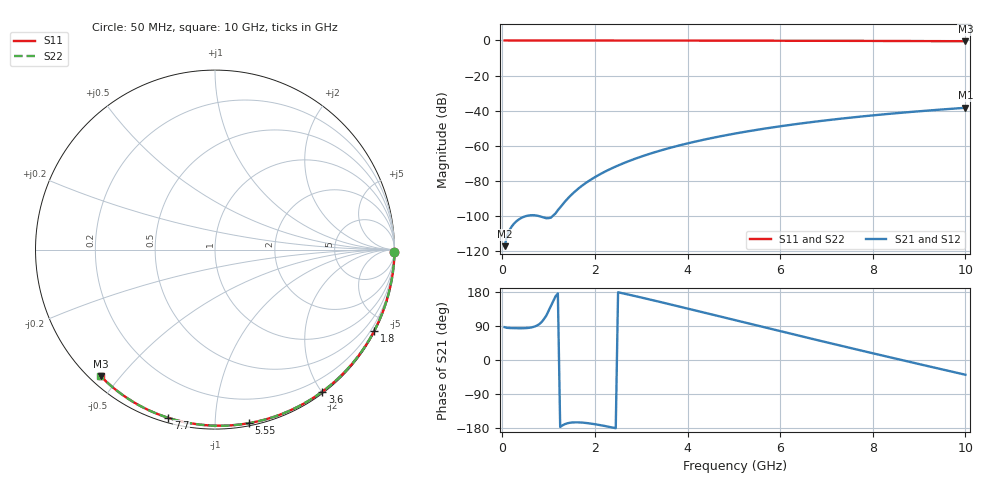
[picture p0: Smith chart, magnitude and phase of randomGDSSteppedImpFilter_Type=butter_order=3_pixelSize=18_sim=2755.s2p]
! freq	dB(S11)	phase(S11)	dB(S12)	phase(S12)
!  dB(S21)	phase(S21)	dB(S22)	phase(S22)
!S-par simulation data
#  GHz  S  DB  R 50
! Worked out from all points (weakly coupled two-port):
!   200 points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, 50 MHz to 10 GHz, reference 50 ohm
!   highest |S21| = -38.41 dB at 10 GHz (marker M1); lowest = -117.3 dB at 50 MHz (marker M2)
!   lowest |S11| = -0.4 dB at 10 GHz (marker M3), VSWR 38.96, Z = 1.54 - j22.2 ohm
!   |S11| at or under -10 dB: nowhere
!   |S22| runs from -0.4 to 0.0 dB; largest |S21 - S12| = 0
!   S11 on the Smith chart (normalised r, x): 50 MHz: open; 1.8 GHz: 0.04, -4.16; 3.6 GHz: 0.02, -2.01; 5.55 GHz: 0.02, -1.21; 7.7 GHz: 0.02, -0.76; 10 GHz: 0.03, -0.44
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0.05  -0.00 -0.8  -117.34 86.6  -117.34 86.6  -0.00 -0.8
0.9  -0.02 -13.7  -101.08 108.1  -101.08 108.1  -0.02 -13.7
1.75  -0.03 -26.3  -82.30 -165.4  -82.30 -165.4  -0.03 -26.4
1.8  -0.03 -27.1  -81.35 -166.0  -81.35 -166.0  -0.03 -27.1
1.85  -0.04 -27.8  -80.45 -166.8  -80.45 -166.8  -0.04 -27.9
1.9  -0.04 -28.5  -79.59 -167.6  -79.59 -167.6  -0.04 -28.6
2.05  -0.04 -30.7  -77.20 -170.5  -77.20 -170.5  -0.04 -30.8
2.25  -0.04 -33.6  -74.38 -175.0  -74.38 -175.0  -0.04 -33.7
2.45  -0.05 -36.6  -71.89 -180.0  -71.89 -180.0  -0.05 -36.6
2.65  -0.05 -39.4  -69.66 174.7  -69.66 174.7  -0.05 -39.5
3  -0.06 -44.4  -66.25 165.0  -66.25 165.0  -0.06 -44.6
3.4  -0.07 -50.1  -62.90 153.4  -62.90 153.4  -0.07 -50.2
3.6  -0.07 -52.9  -61.41 147.6  -61.41 147.6  -0.07 -53.0
4.3  -0.09 -62.5  -56.90 126.8  -56.90 126.8  -0.09 -62.6
5.05  -0.11 -72.5  -52.98 104.4  -52.98 104.4  -0.11 -72.7
5.55  -0.13 -79.0  -50.76 89.5  -50.76 89.5  -0.13 -79.2
6.1  -0.15 -86.0  -48.59 73.2  -48.59 73.2  -0.15 -86.2
6.7  -0.18 -93.5  -46.49 55.5  -46.49 55.5  -0.18 -93.6
7.7  -0.24 -105.5  -43.52 26.4  -43.52 26.4  -0.24 -105.7
8.35  -0.29 -113.2  -41.86 7.7  -41.86 7.7  -0.29 -113.4
9.15  -0.36 -122.4  -40.07 -15.0  -40.07 -15.0  -0.36 -122.6
10  -0.45 -132.1  -38.41 -38.9  -38.41 -38.9  -0.45 -132.3
